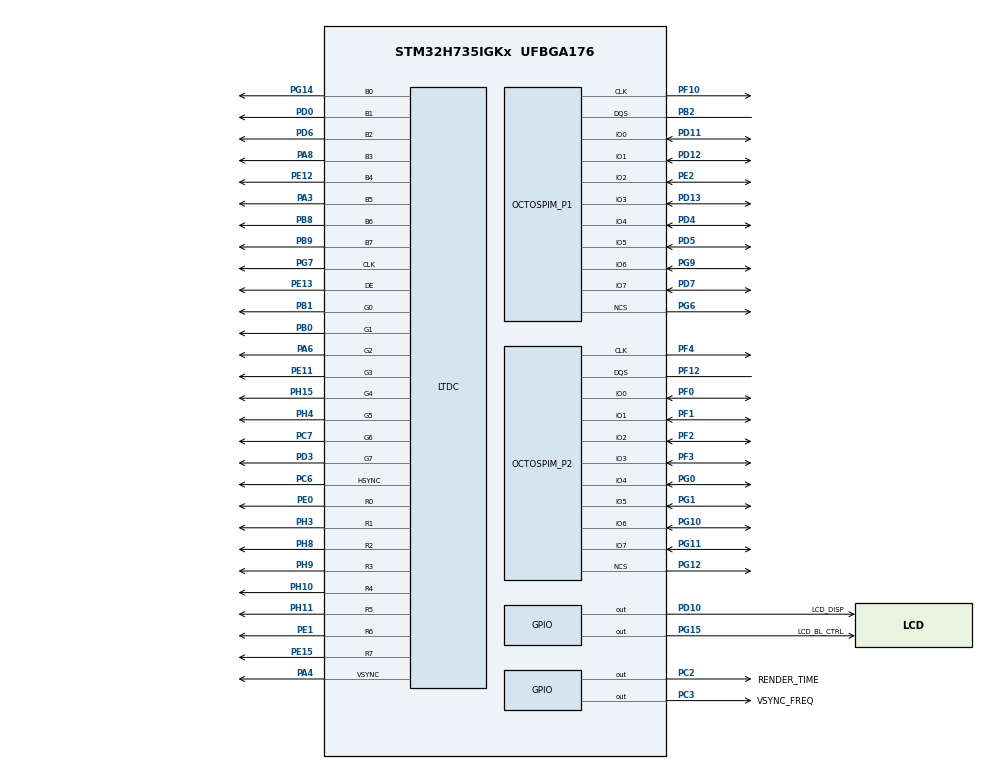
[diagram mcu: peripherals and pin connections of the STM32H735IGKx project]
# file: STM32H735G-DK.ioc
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CORTEX_M7.AccessPermission-Cortex_Memory_Protection_Unit_Region0_Settings=MPU_REGION_FULL_ACCESS
CORTEX_M7.AccessPermission-Cortex_Memory_Protection_Unit_Region2_Settings=MPU_REGION_FULL_ACCESS
CORTEX_M7.AccessPermission-Cortex_Memory_Protection_Unit_Region4_Settings=MPU_REGION_FULL_ACCESS
CORTEX_M7.BaseAddress-Cortex_Memory_Protection_Unit_Region0_Settings=0x24000000
CORTEX_M7.BaseAddress-Cortex_Memory_Protection_Unit_Region1_Settings=0x70000000
CORTEX_M7.BaseAddress-Cortex_Memory_Protection_Unit_Region2_Settings=0x70000000
CORTEX_M7.BaseAddress-Cortex_Memory_Protection_Unit_Region3_Settings=0x90000000
CORTEX_M7.BaseAddress-Cortex_Memory_Protection_Unit_Region4_Settings=0x90000000
CORTEX_M7.CPU_DCache=Enabled
CORTEX_M7.CPU_ICache=Enabled
CORTEX_M7.DisableExec-Cortex_Memory_Protection_Unit_Region0_Settings=MPU_INSTRUCTION_ACCESS_DISABLE
CORTEX_M7.DisableExec-Cortex_Memory_Protection_Unit_Region1_Settings=MPU_INSTRUCTION_ACCESS_DISABLE
CORTEX_M7.DisableExec-Cortex_Memory_Protection_Unit_Region2_Settings=MPU_INSTRUCTION_ACCESS_DISABLE
CORTEX_M7.DisableExec-Cortex_Memory_Protection_Unit_Region3_Settings=MPU_INSTRUCTION_ACCESS_DISABLE
CORTEX_M7.DisableExec-Cortex_Memory_Protection_Unit_Region4_Settings=MPU_INSTRUCTION_ACCESS_DISABLE
CORTEX_M7.Enable-Cortex_Memory_Protection_Unit_Region0_Settings=MPU_REGION_ENABLE
CORTEX_M7.Enable-Cortex_Memory_Protection_Unit_Region1_Settings=MPU_REGION_ENABLE
CORTEX_M7.Enable-Cortex_Memory_Protection_Unit_Region2_Settings=MPU_REGION_ENABLE
CORTEX_M7.Enable-Cortex_Memory_Protection_Unit_Region3_Settings=MPU_REGION_ENABLE
CORTEX_M7.Enable-Cortex_Memory_Protection_Unit_Region4_Settings=MPU_REGION_ENABLE
CORTEX_M7.IsBufferable-Cortex_Memory_Protection_Unit_Region0_Settings=MPU_ACCESS_BUFFERABLE
CORTEX_M7.IsBufferable-Cortex_Memory_Protection_Unit_Region2_Settings=MPU_ACCESS_BUFFERABLE
CORTEX_M7.IsCacheable-Cortex_Memory_Protection_Unit_Region0_Settings=MPU_ACCESS_CACHEABLE
CORTEX_M7.IsCacheable-Cortex_Memory_Protection_Unit_Region2_Settings=MPU_ACCESS_CACHEABLE
CORTEX_M7.IsCacheable-Cortex_Memory_Protection_Unit_Region4_Settings=MPU_ACCESS_CACHEABLE
CORTEX_M7.MPU_Control=MPU_PRIVILEGED_DEFAULT
CORTEX_M7.Size-Cortex_Memory_Protection_Unit_Region0_Settings=MPU_REGION_SIZE_512KB
CORTEX_M7.Size-Cortex_Memory_Protection_Unit_Region1_Settings=MPU_REGION_SIZE_512MB
CORTEX_M7.Size-Cortex_Memory_Protection_Unit_Region2_Settings=MPU_REGION_SIZE_8MB
CORTEX_M7.Size-Cortex_Memory_Protection_Unit_Region3_Settings=MPU_REGION_SIZE_512MB
CORTEX_M7.Size-Cortex_Memory_Protection_Unit_Region4_Settings=MPU_REGION_SIZE_64MB
DMA2D.ColorMode=DMA2D_OUTPUT_RGB888
DMA2D.Mode=DMA2D_R2M
FREERTOS.Tasks01=defaultTask,24,128,StartDefaultTask,Default,NULL,Dynamic,NULL,NULL;TouchGFXTask,24,1024,TouchGFX_Task,As external,NULL,Dynamic,NULL,NULL
FREERTOS.configUSE_APPLICATION_TASK_TAG=1
FREERTOS.configUSE_IDLE_HOOK=1
LTDC.ActiveH=272
LTDC.ActiveW=480
LTDC.Alpha_L0=255
LTDC.FBStartAdress_L0=0x70000000
LTDC.FBStartAdress_L1=0x70000000
LTDC.HBP=13
LTDC.HFP=32
LTDC.HSync=41
LTDC.ImageHeight_L0=272
LTDC.ImageWidth_L0=480
LTDC.Layers=0
LTDC.PixelFormat_L0=LTDC_PIXEL_FORMAT_RGB888
LTDC.VSync=10
LTDC.WindowX1_L0=480
LTDC.WindowY1_L0=272
Mcu.Family=STM32H7
Mcu.Name=STM32H735IGKx
Mcu.Package=UFBGA176
NVIC.DMA2D_IRQn=true\:5\:0\:true\:false\:true\:false\:true\:true
NVIC.LTDC_IRQn=true\:5\:0\:true\:false\:true\:false\:true\:true
NVIC.PriorityGroup=NVIC_PRIORITYGROUP_4
NVIC.TIM6_DAC_IRQn=true\:0\:0\:false\:false\:true\:false\:false\:true
NVIC.TimeBase=TIM6_DAC_IRQn
NVIC.TimeBaseIP=TIM6
OCTOSPI1.ChipSelectBoundary=0
OCTOSPI1.ChipSelectHighTime=2
OCTOSPI1.ClockPrescaler=2
OCTOSPI1.FifoThreshold=4
OCTOSPI1.MemoryType=HAL_OSPI_MEMTYPE_MACRONIX
OCTOSPI2.AccessTime=6
OCTOSPI2.ChipSelectBoundary=23
OCTOSPI2.ChipSelectHighTime=4
OCTOSPI2.ClkChipSelectHighTime=0
OCTOSPI2.ClockPrescaler=2
OCTOSPI2.DelayBlockBypass=HAL_OSPI_DELAY_BLOCK_USED
OCTOSPI2.DelayHoldQuarterCycle=HAL_OSPI_DHQC_ENABLE
OCTOSPI2.DeviceSize=24
OCTOSPI2.FifoThreshold=4
OCTOSPI2.LatencyMode=HAL_OSPI_FIXED_LATENCY
OCTOSPI2.RWRecoveryTime=3
OCTOSPI2.Refresh=400
OCTOSPI2.WriteZeroLatency=HAL_OSPI_LATENCY_ON_WRITE
PA3.GPIO_Speed=GPIO_SPEED_FREQ_VERY_HIGH
PA3.Mode=RGB888
PA3.Signal=LTDC_B5
PA4.GPIO_Speed=GPIO_SPEED_FREQ_VERY_HIGH
PA4.Mode=RGB888
PA4.Signal=LTDC_VSYNC
PA6.GPIO_Speed=GPIO_SPEED_FREQ_VERY_HIGH
PA6.Mode=RGB888
PA6.Signal=LTDC_G2
PA8.GPIO_Speed=GPIO_SPEED_FREQ_VERY_HIGH
PA8.Mode=RGB888
PA8.Signal=LTDC_B3
PB0.GPIO_Speed=GPIO_SPEED_FREQ_VERY_HIGH
PB0.Mode=RGB888
PB0.Signal=LTDC_G1
PB1.GPIO_Speed=GPIO_SPEED_FREQ_VERY_HIGH
PB1.Mode=RGB888
PB1.Signal=LTDC_G0
PB2.Mode=OCTOSPI1_Port1_DQS
PB2.Signal=OCTOSPIM_P1_DQS
PB8.GPIO_Speed=GPIO_SPEED_FREQ_VERY_HIGH
PB8.Mode=RGB888
PB8.Signal=LTDC_B6
PB9.GPIO_Speed=GPIO_SPEED_FREQ_VERY_HIGH
PB9.Mode=RGB888
PB9.Signal=LTDC_B7
PC2.GPIO_Label=RENDER_TIME
PC2.GPIO_PuPd=GPIO_PULLUP
PC2.GPIO_Speed=GPIO_SPEED_FREQ_VERY_HIGH
PC2.PinState=GPIO_PIN_SET
PC2.Signal=GPIO_Output
PC3.GPIO_Label=VSYNC_FREQ
PC3.GPIO_PuPd=GPIO_PULLUP
PC3.GPIO_Speed=GPIO_SPEED_FREQ_VERY_HIGH
PC3.PinState=GPIO_PIN_SET
PC3.Signal=GPIO_Output
PC6.GPIO_Speed=GPIO_SPEED_FREQ_VERY_HIGH
PC6.Mode=RGB888
PC6.Signal=LTDC_HSYNC
PC7.GPIO_Speed=GPIO_SPEED_FREQ_VERY_HIGH
PC7.Mode=RGB888
PC7.Signal=LTDC_G6
PD0.GPIO_Speed=GPIO_SPEED_FREQ_VERY_HIGH
PD0.Mode=RGB888
PD0.Signal=LTDC_B1
PD10.GPIO_Label=LCD_DISP
PD10.GPIO_PuPd=GPIO_NOPULL
PD10.GPIO_Speed=GPIO_SPEED_FREQ_LOW
PD10.PinState=GPIO_PIN_RESET
PD10.Signal=GPIO_Output
PD11.Mode=OCTOSPI1_IOL_Port1L
PD11.Signal=OCTOSPIM_P1_IO0
PD12.Mode=OCTOSPI1_IOL_Port1L
PD12.Signal=OCTOSPIM_P1_IO1
PD13.Mode=OCTOSPI1_IOL_Port1L
PD13.Signal=OCTOSPIM_P1_IO3
PD3.GPIO_Speed=GPIO_SPEED_FREQ_VERY_HIGH
PD3.Mode=RGB888
PD3.Signal=LTDC_G7
PD4.Mode=OCTOSPI1_IOH_Port1H
PD4.Signal=OCTOSPIM_P1_IO4
PD5.Mode=OCTOSPI1_IOH_Port1H
PD5.Signal=OCTOSPIM_P1_IO5
PD6.GPIO_Speed=GPIO_SPEED_FREQ_VERY_HIGH
PD6.Mode=RGB888
PD6.Signal=LTDC_B2
PD7.Mode=OCTOSPI1_IOH_Port1H
PD7.Signal=OCTOSPIM_P1_IO7
PE0.GPIO_Speed=GPIO_SPEED_FREQ_VERY_HIGH
PE0.Mode=RGB888
PE0.Signal=LTDC_R0
PE1.GPIO_Speed=GPIO_SPEED_FREQ_VERY_HIGH
PE1.Mode=RGB888
PE1.Signal=LTDC_R6
PE11.GPIO_Speed=GPIO_SPEED_FREQ_VERY_HIGH
PE11.Mode=RGB888
PE11.Signal=LTDC_G3
PE12.GPIO_Speed=GPIO_SPEED_FREQ_VERY_HIGH
PE12.Mode=RGB888
PE12.Signal=LTDC_B4
PE13.GPIO_Speed=GPIO_SPEED_FREQ_VERY_HIGH
PE13.Mode=RGB888
PE13.Signal=LTDC_DE
PE15.GPIO_Speed=GPIO_SPEED_FREQ_VERY_HIGH
PE15.Mode=RGB888
PE15.Signal=LTDC_R7
PE2.Mode=OCTOSPI1_IOL_Port1L
PE2.Signal=OCTOSPIM_P1_IO2
PF0.Mode=OCTOSPI2_IOL_Port2L
PF0.Signal=OCTOSPIM_P2_IO0
PF1.Mode=OCTOSPI2_IOL_Port2L
PF1.Signal=OCTOSPIM_P2_IO1
PF10.Mode=O1_P1_CLK
PF10.Signal=OCTOSPIM_P1_CLK
PF12.Mode=OCTOSPI2_Port2_DQS
PF12.Signal=OCTOSPIM_P2_DQS
PF2.Mode=OCTOSPI2_IOL_Port2L
PF2.Signal=OCTOSPIM_P2_IO2
PF3.Mode=OCTOSPI2_IOL_Port2L
PF3.Signal=OCTOSPIM_P2_IO3
PF4.Mode=O2_P2_CLK
PF4.Signal=OCTOSPIM_P2_CLK
PG0.Mode=OCTOSPI2_IOH_Port2H
PG0.Signal=OCTOSPIM_P2_IO4
PG1.Mode=OCTOSPI2_IOH_Port2H
PG1.Signal=OCTOSPIM_P2_IO5
PG10.Mode=OCTOSPI2_IOH_Port2H
PG10.Signal=OCTOSPIM_P2_IO6
PG11.Mode=OCTOSPI2_IOH_Port2H
PG11.Signal=OCTOSPIM_P2_IO7
PG12.Mode=OCTOSPI2_Port2_NCS
PG12.Signal=OCTOSPIM_P2_NCS
PG14.GPIO_Speed=GPIO_SPEED_FREQ_VERY_HIGH
PG14.Mode=RGB888
PG14.Signal=LTDC_B0
PG15.GPIO_Label=LCD_BL_CTRL
PG15.Signal=GPIO_Output
PG6.Mode=OCTOSPI1_Port1_NCS
PG6.Signal=OCTOSPIM_P1_NCS
PG7.GPIO_Speed=GPIO_SPEED_FREQ_VERY_HIGH
PG7.Mode=RGB888
PG7.Signal=LTDC_CLK
PG9.Mode=OCTOSPI1_IOH_Port1H
PG9.Signal=OCTOSPIM_P1_IO6
PH0-OSC_IN.Mode=HSE-External-Oscillator
PH0-OSC_IN.Signal=RCC_OSC_IN
PH1-OSC_OUT.Mode=HSE-External-Oscillator
PH1-OSC_OUT.Signal=RCC_OSC_OUT
PH10.GPIO_Speed=GPIO_SPEED_FREQ_VERY_HIGH
PH10.Mode=RGB888
PH10.Signal=LTDC_R4
PH11.GPIO_Speed=GPIO_SPEED_FREQ_VERY_HIGH
PH11.Mode=RGB888
PH11.Signal=LTDC_R5
PH15.GPIO_Speed=GPIO_SPEED_FREQ_VERY_HIGH
PH15.Mode=RGB888
PH15.Signal=LTDC_G4
PH3.GPIO_Speed=GPIO_SPEED_FREQ_VERY_HIGH
PH3.Mode=RGB888
PH3.Signal=LTDC_R1
PH4.GPIO_Speed=GPIO_SPEED_FREQ_VERY_HIGH
PH4.Mode=RGB888
PH4.Signal=LTDC_G5
PH8.GPIO_Speed=GPIO_SPEED_FREQ_VERY_HIGH
PH8.Mode=RGB888
PH8.Signal=LTDC_R2
PH9.GPIO_Speed=GPIO_SPEED_FREQ_VERY_HIGH
PH9.Mode=RGB888
PH9.Signal=LTDC_R3
ProjectManager.HeapSize=0x1000
ProjectManager.StackSize=0x1000
ProjectManager.TargetToolchain=STM32CubeIDE
RCC.ADCFreq_Value=200000000
RCC.APB1Freq_Value=137500000
RCC.APB2Freq_Value=137500000
RCC.APB3Freq_Value=137500000
RCC.APB4Freq_Value=137500000
RCC.CortexFreq_Value=550000000
RCC.D1PPRE=RCC_APB3_DIV2
RCC.D2PPRE1=RCC_APB1_DIV2
RCC.D2PPRE2=RCC_APB2_DIV2
RCC.D3PPRE=RCC_APB4_DIV2
RCC.DIVM1=2
RCC.DIVM2=5
RCC.DIVM3=25
RCC.DIVN1=44
RCC.DIVN2=80
RCC.DIVN3=288
RCC.DIVP1=1
RCC.DIVR3=30
RCC.HCLKFreq_Value=275000000
RCC.HPRE=RCC_HCLK_DIV2
RCC.PLL2FRACN=0
RCC.PLL3FRACN=0
RCC.PLLFRACN=0
RCC.PLLSourceVirtual=RCC_PLLSOURCE_HSE
RCC.QSPICLockSelection=RCC_OSPICLKSOURCE_PLL2
RCC.SYSCLKFreq_VALUE=550000000
RCC.SYSCLKSource=RCC_SYSCLKSOURCE_PLLCLK
RCC.SupplySource=PWR_DIRECT_SMPS_SUPPLY
RCC.USBFreq_Value=275000000
STMicroelectronics.X-CUBE-TOUCHGFX.4.18.1.ApplicationCcGraphicsJjApplication=TouchGFXOoGenerator
STMicroelectronics.X-CUBE-TOUCHGFX.4.18.1.tgfx_address1=0x70000000
STMicroelectronics.X-CUBE-TOUCHGFX.4.18.1.tgfx_address2=0x70060000
STMicroelectronics.X-CUBE-TOUCHGFX.4.18.1.tgfx_buffering_strategy=Double
STMicroelectronics.X-CUBE-TOUCHGFX.4.18.1.tgfx_display_interface=disp_ltdc
STMicroelectronics.X-CUBE-TOUCHGFX.4.18.1.tgfx_hardware_accelerator=dma_2d
STMicroelectronics.X-CUBE-TOUCHGFX.4.18.1.tgfx_location=By Address
STMicroelectronics.X-CUBE-TOUCHGFX.4.18.1.tgfx_vsync=vsync_ltdc
VP_CRC_VS_CRC.Mode=CRC_Activate
VP_DMA2D_VS_DMA2D.Mode=DMA2D_Activate
VP_FREERTOS_VS_CMSIS_V2.Mode=CMSIS_V2
VP_OCTOSPI1_VS_octo.Mode=octo_mode
VP_OCTOSPI2_VS_octo.Mode=hyperbus_mode
VP_STMicroelectronics.X-CUBE-TOUCHGFX_VS_GraphicsJjApplication_4.18.1.Mode=GraphicsJjApplication
VP_SYS_VS_tim6.Mode=TIM6
board=custom

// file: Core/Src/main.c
/* USER CODE BEGIN Header */
/**
  ******************************************************************************
  * @file           : main.c
  * @brief          : Main program body
  ******************************************************************************
  * @attention
  *
  * <h2><center>&copy; Copyright (c) 2020 STMicroelectronics.
  * All rights reserved.</center></h2>
  *
  * This software component is licensed by ST under Ultimate Liberty license
  * SLA0044, the "License"; You may not use this file except in compliance with
  * the License. You may obtain a copy of the License at:
  *                             www.st.com/SLA0044
  *
  ******************************************************************************
  */
/* USER CODE END Header */
#include "main.h"
#include "cmsis_os.h"
#include "app_touchgfx.h"

/* USER CODE BEGIN Includes */
#include "stm32h735g_discovery_ospi.h"
#include "stm32h7xx_hal_ospi.h"
/* USER CODE END Includes */

CRC_HandleTypeDef hcrc;

DMA2D_HandleTypeDef hdma2d;

LTDC_HandleTypeDef hltdc;

OSPI_HandleTypeDef hospi1;
OSPI_HandleTypeDef hospi2;

/* Definitions for defaultTask */
osThreadId_t defaultTaskHandle;
const osThreadAttr_t defaultTask_attributes = {
    .name = "defaultTask",
    .stack_size = 128 * 4,
    .priority = (osPriority_t) osPriorityNormal,
};
/* Definitions for TouchGFXTask */
osThreadId_t TouchGFXTaskHandle;
const osThreadAttr_t TouchGFXTask_attributes = {
    .name = "TouchGFXTask",
    .stack_size = 1024 * 4,
    .priority = (osPriority_t) osPriorityNormal,
};

void SystemClock_Config(void);
void PeriphCommonClock_Config(void);
static void MPU_Config(void);
static void MX_GPIO_Init(void);
static void MX_CRC_Init(void);
static void MX_DMA2D_Init(void);
static void MX_LTDC_Init(void);
static void MX_OCTOSPI1_Init(void);
static void MX_OCTOSPI2_Init(void);
void StartDefaultTask(void* argument);
extern void TouchGFX_Task(void* argument);

int
main(void) {

    /* MPU Configuration--------------------------------------------------------*/
    MPU_Config();

    /* Enable I-Cache---------------------------------------------------------*/
    SCB_EnableICache();

    /* Enable D-Cache---------------------------------------------------------*/
    SCB_EnableDCache();

    /* MCU Configuration--------------------------------------------------------*/

    /* Reset of all peripherals, Initializes the Flash interface and the Systick. */
    HAL_Init();

    /* Configure the system clock */
    SystemClock_Config();

    /* Configure the peripherals common clocks */
    PeriphCommonClock_Config();

    /* Initialize all configured peripherals */
    MX_GPIO_Init();
    MX_CRC_Init();
    MX_DMA2D_Init();
    MX_LTDC_Init();
    MX_OCTOSPI1_Init();
    MX_OCTOSPI2_Init();
    MX_TouchGFX_Init();

    /* Init scheduler */
    osKernelInitialize();

    /* Create the thread(s) */
    /* creation of defaultTask */
    defaultTaskHandle = osThreadNew(StartDefaultTask, NULL, &defaultTask_attributes);

    /* creation of TouchGFXTask */
    TouchGFXTaskHandle = osThreadNew(TouchGFX_Task, NULL, &TouchGFXTask_attributes);

    /* Start scheduler */
    osKernelStart();

    /* We should never get here as control is now taken by the scheduler */
    /* Infinite loop */
    while (1) {

    }
}

void
SystemClock_Config(void) {
    RCC_OscInitTypeDef RCC_OscInitStruct = {0};
    RCC_ClkInitTypeDef RCC_ClkInitStruct = {0};

    /** Supply configuration update enable
    */
    HAL_PWREx_ConfigSupply(PWR_DIRECT_SMPS_SUPPLY);
    /** Configure the main internal regulator output voltage
    */
    __HAL_PWR_VOLTAGESCALING_CONFIG(PWR_REGULATOR_VOLTAGE_SCALE0);

    while (!__HAL_PWR_GET_FLAG(PWR_FLAG_VOSRDY)) {}
    /** Macro to configure the PLL clock source
    */
    __HAL_RCC_PLL_PLLSOURCE_CONFIG(RCC_PLLSOURCE_HSE);
    /** Initializes the RCC Oscillators according to the specified parameters
    * in the RCC_OscInitTypeDef structure.
    */
    RCC_OscInitStruct.OscillatorType = RCC_OSCILLATORTYPE_HSE;
    RCC_OscInitStruct.HSEState = RCC_HSE_ON;
    RCC_OscInitStruct.PLL.PLLState = RCC_PLL_ON;
    RCC_OscInitStruct.PLL.PLLSource = RCC_PLLSOURCE_HSE;
    RCC_OscInitStruct.PLL.PLLM = 2;
    RCC_OscInitStruct.PLL.PLLN = 44;
    RCC_OscInitStruct.PLL.PLLP = 1;
    RCC_OscInitStruct.PLL.PLLQ = 2;
    RCC_OscInitStruct.PLL.PLLR = 2;
    RCC_OscInitStruct.PLL.PLLRGE = RCC_PLL1VCIRANGE_3;
    RCC_OscInitStruct.PLL.PLLVCOSEL = RCC_PLL1VCOWIDE;
    RCC_OscInitStruct.PLL.PLLFRACN = 0;
    if (HAL_RCC_OscConfig(&RCC_OscInitStruct) != HAL_OK) {
        Error_Handler();
    }
    /** Initializes the CPU, AHB and APB buses clocks
    */
    RCC_ClkInitStruct.ClockType = RCC_CLOCKTYPE_HCLK | RCC_CLOCKTYPE_SYSCLK
                                  | RCC_CLOCKTYPE_PCLK1 | RCC_CLOCKTYPE_PCLK2
                                  | RCC_CLOCKTYPE_D3PCLK1 | RCC_CLOCKTYPE_D1PCLK1;
    RCC_ClkInitStruct.SYSCLKSource = RCC_SYSCLKSOURCE_PLLCLK;
    RCC_ClkInitStruct.SYSCLKDivider = RCC_SYSCLK_DIV1;
    RCC_ClkInitStruct.AHBCLKDivider = RCC_HCLK_DIV2;
    RCC_ClkInitStruct.APB3CLKDivider = RCC_APB3_DIV2;
    RCC_ClkInitStruct.APB1CLKDivider = RCC_APB1_DIV2;
    RCC_ClkInitStruct.APB2CLKDivider = RCC_APB2_DIV2;
    RCC_ClkInitStruct.APB4CLKDivider = RCC_APB4_DIV2;

    if (HAL_RCC_ClockConfig(&RCC_ClkInitStruct, FLASH_LATENCY_3) != HAL_OK) {
        Error_Handler();
    }
}

void
PeriphCommonClock_Config(void) {
    RCC_PeriphCLKInitTypeDef PeriphClkInitStruct = {0};

    /** Initializes the peripherals clock
    */
    PeriphClkInitStruct.PeriphClockSelection = RCC_PERIPHCLK_OSPI;
    PeriphClkInitStruct.PLL2.PLL2M = 5;
    PeriphClkInitStruct.PLL2.PLL2N = 80;
    PeriphClkInitStruct.PLL2.PLL2P = 2;
    PeriphClkInitStruct.PLL2.PLL2Q = 2;
    PeriphClkInitStruct.PLL2.PLL2R = 2;
    PeriphClkInitStruct.PLL2.PLL2RGE = RCC_PLL2VCIRANGE_2;
    PeriphClkInitStruct.PLL2.PLL2VCOSEL = RCC_PLL2VCOWIDE;
    PeriphClkInitStruct.PLL2.PLL2FRACN = 0;
    PeriphClkInitStruct.OspiClockSelection = RCC_OSPICLKSOURCE_PLL2;
    if (HAL_RCCEx_PeriphCLKConfig(&PeriphClkInitStruct) != HAL_OK) {
        Error_Handler();
    }
}

static void
MX_CRC_Init(void) {

    hcrc.Instance = CRC;
    hcrc.Init.DefaultPolynomialUse = DEFAULT_POLYNOMIAL_ENABLE;
    hcrc.Init.DefaultInitValueUse = DEFAULT_INIT_VALUE_ENABLE;
    hcrc.Init.InputDataInversionMode = CRC_INPUTDATA_INVERSION_NONE;
    hcrc.Init.OutputDataInversionMode = CRC_OUTPUTDATA_INVERSION_DISABLE;
    hcrc.InputDataFormat = CRC_INPUTDATA_FORMAT_BYTES;
    if (HAL_CRC_Init(&hcrc) != HAL_OK) {
        Error_Handler();
    }

}

static void
MX_DMA2D_Init(void) {

    hdma2d.Instance = DMA2D;
    hdma2d.Init.Mode = DMA2D_R2M;
    hdma2d.Init.ColorMode = DMA2D_OUTPUT_RGB888;
    hdma2d.Init.OutputOffset = 0;
    if (HAL_DMA2D_Init(&hdma2d) != HAL_OK) {
        Error_Handler();
    }

}

static void
MX_LTDC_Init(void) {

    LTDC_LayerCfgTypeDef pLayerCfg = {0};

    hltdc.Instance = LTDC;
    hltdc.Init.HSPolarity = LTDC_HSPOLARITY_AL;
    hltdc.Init.VSPolarity = LTDC_VSPOLARITY_AL;
    hltdc.Init.DEPolarity = LTDC_DEPOLARITY_AL;
    hltdc.Init.PCPolarity = LTDC_PCPOLARITY_IPC;
    hltdc.Init.HorizontalSync = 40;
    hltdc.Init.VerticalSync = 9;
    hltdc.Init.AccumulatedHBP = 53;
    hltdc.Init.AccumulatedVBP = 11;
    hltdc.Init.AccumulatedActiveW = 533;
    hltdc.Init.AccumulatedActiveH = 283;
    hltdc.Init.TotalWidth = 565;
    hltdc.Init.TotalHeigh = 285;
    hltdc.Init.Backcolor.Blue = 0;
    hltdc.Init.Backcolor.Green = 0;
    hltdc.Init.Backcolor.Red = 0;
    if (HAL_LTDC_Init(&hltdc) != HAL_OK) {
        Error_Handler();
    }
    pLayerCfg.WindowX0 = 0;
    pLayerCfg.WindowX1 = 480;
    pLayerCfg.WindowY0 = 0;
    pLayerCfg.WindowY1 = 272;
    pLayerCfg.PixelFormat = LTDC_PIXEL_FORMAT_RGB888;
    pLayerCfg.Alpha = 255;
    pLayerCfg.Alpha0 = 0;
    pLayerCfg.BlendingFactor1 = LTDC_BLENDING_FACTOR1_CA;
    pLayerCfg.BlendingFactor2 = LTDC_BLENDING_FACTOR2_CA;
    pLayerCfg.FBStartAdress = 0x70000000;
    pLayerCfg.ImageWidth = 480;
    pLayerCfg.ImageHeight = 272;
    pLayerCfg.Backcolor.Blue = 0;
    pLayerCfg.Backcolor.Green = 0;
    pLayerCfg.Backcolor.Red = 0;
    if (HAL_LTDC_ConfigLayer(&hltdc, &pLayerCfg, 0) != HAL_OK) {
        Error_Handler();
    }

}

static void
MX_OCTOSPI1_Init(void) {

    /* USER CODE BEGIN OCTOSPI1_Init 0 */
    BSP_OSPI_NOR_Init_t ospi_nor_int;
    /* USER CODE END OCTOSPI1_Init 0 */

    OSPIM_CfgTypeDef sOspiManagerCfg = {0};

    /* OCTOSPI1 parameter configuration*/
    hospi1.Instance = OCTOSPI1;
    hospi1.Init.FifoThreshold = 4;
    hospi1.Init.DualQuad = HAL_OSPI_DUALQUAD_DISABLE;
    hospi1.Init.MemoryType = HAL_OSPI_MEMTYPE_MACRONIX;
    hospi1.Init.DeviceSize = 32;
    hospi1.Init.ChipSelectHighTime = 2;
    hospi1.Init.FreeRunningClock = HAL_OSPI_FREERUNCLK_DISABLE;
    hospi1.Init.ClockMode = HAL_OSPI_CLOCK_MODE_0;
    hospi1.Init.WrapSize = HAL_OSPI_WRAP_NOT_SUPPORTED;
    hospi1.Init.ClockPrescaler = 2;
    hospi1.Init.SampleShifting = HAL_OSPI_SAMPLE_SHIFTING_NONE;
    hospi1.Init.DelayHoldQuarterCycle = HAL_OSPI_DHQC_DISABLE;
    hospi1.Init.ChipSelectBoundary = 0;
    hospi1.Init.ClkChipSelectHighTime = 0;
    hospi1.Init.DelayBlockBypass = HAL_OSPI_DELAY_BLOCK_BYPASSED;
    hospi1.Init.MaxTran = 0;
    hospi1.Init.Refresh = 0;
    if (HAL_OSPI_Init(&hospi1) != HAL_OK) {
        Error_Handler();
    }
    sOspiManagerCfg.ClkPort = 1;
    sOspiManagerCfg.DQSPort = 1;
    sOspiManagerCfg.NCSPort = 1;
    sOspiManagerCfg.IOLowPort = HAL_OSPIM_IOPORT_1_LOW;
    sOspiManagerCfg.IOHighPort = HAL_OSPIM_IOPORT_1_HIGH;
    if (HAL_OSPIM_Config(&hospi1, &sOspiManagerCfg, HAL_OSPI_TIMEOUT_DEFAULT_VALUE) != HAL_OK) {
        Error_Handler();
    }
    /* USER CODE BEGIN OCTOSPI1_Init 2 */
    HAL_OSPI_DeInit(&hospi1);
    ospi_nor_int.InterfaceMode = BSP_OSPI_NOR_OPI_MODE;
    ospi_nor_int.TransferRate  = BSP_OSPI_NOR_DTR_TRANSFER;
    BSP_OSPI_NOR_DeInit(0);
    if (BSP_OSPI_NOR_Init(0, &ospi_nor_int) != BSP_ERROR_NONE) {
        Error_Handler();
    }
    if (BSP_OSPI_NOR_EnableMemoryMappedMode(0) != BSP_ERROR_NONE) {
        Error_Handler();
    }
    /* USER CODE END OCTOSPI1_Init 2 */

}

static void
MX_OCTOSPI2_Init(void) {

    /* USER CODE BEGIN OCTOSPI2_Init 0 */
    BSP_OSPI_RAM_Init_t ospi_ram_init;
    /* USER CODE END OCTOSPI2_Init 0 */

    OSPIM_CfgTypeDef sOspiManagerCfg = {0};
    OSPI_HyperbusCfgTypeDef sHyperBusCfg = {0};

    /* USER CODE BEGIN OCTOSPI2_Init 1 */
    OSPI_HyperbusCmdTypeDef sCommand = {0};
    OSPI_MemoryMappedTypeDef sMemMappedCfg = {0};
    /* USER CODE END OCTOSPI2_Init 1 */
    /* OCTOSPI2 parameter configuration*/
    hospi2.Instance = OCTOSPI2;
    hospi2.Init.FifoThreshold = 4;
    hospi2.Init.DualQuad = HAL_OSPI_DUALQUAD_DISABLE;
    hospi2.Init.MemoryType = HAL_OSPI_MEMTYPE_HYPERBUS;
    hospi2.Init.DeviceSize = 24;
    hospi2.Init.ChipSelectHighTime = 4;
    hospi2.Init.FreeRunningClock = HAL_OSPI_FREERUNCLK_DISABLE;
    hospi2.Init.ClockMode = HAL_OSPI_CLOCK_MODE_0;
    hospi2.Init.WrapSize = HAL_OSPI_WRAP_NOT_SUPPORTED;
    hospi2.Init.ClockPrescaler = 2;
    hospi2.Init.SampleShifting = HAL_OSPI_SAMPLE_SHIFTING_NONE;
    hospi2.Init.DelayHoldQuarterCycle = HAL_OSPI_DHQC_ENABLE;
    hospi2.Init.ChipSelectBoundary = 23;
    hospi2.Init.ClkChipSelectHighTime = 0;
    hospi2.Init.DelayBlockBypass = HAL_OSPI_DELAY_BLOCK_USED;
    hospi2.Init.MaxTran = 0;
    hospi2.Init.Refresh = 400;
    if (HAL_OSPI_Init(&hospi2) != HAL_OK) {
        Error_Handler();
    }
    sOspiManagerCfg.ClkPort = 2;
    sOspiManagerCfg.DQSPort = 2;
    sOspiManagerCfg.NCSPort = 2;
    sOspiManagerCfg.IOLowPort = HAL_OSPIM_IOPORT_2_LOW;
    sOspiManagerCfg.IOHighPort = HAL_OSPIM_IOPORT_2_HIGH;
    if (HAL_OSPIM_Config(&hospi2, &sOspiManagerCfg, HAL_OSPI_TIMEOUT_DEFAULT_VALUE) != HAL_OK) {
        Error_Handler();
    }
    sHyperBusCfg.RWRecoveryTime = 3;
    sHyperBusCfg.AccessTime = 6;
    sHyperBusCfg.WriteZeroLatency = HAL_OSPI_LATENCY_ON_WRITE;
    sHyperBusCfg.LatencyMode = HAL_OSPI_FIXED_LATENCY;
    if (HAL_OSPI_HyperbusCfg(&hospi2, &sHyperBusCfg, HAL_OSPI_TIMEOUT_DEFAULT_VALUE) != HAL_OK) {
        Error_Handler();
    }
    /* USER CODE BEGIN OCTOSPI2_Init 2 */
    sCommand.AddressSpace = HAL_OSPI_MEMORY_ADDRESS_SPACE;
    sCommand.AddressSize  = HAL_OSPI_ADDRESS_32_BITS;
    sCommand.DQSMode      = HAL_OSPI_DQS_ENABLE;
    sCommand.Address      = 0;
    sCommand.NbData       = 1;

    if (HAL_OSPI_HyperbusCmd(&hospi2, &sCommand, HAL_OSPI_TIMEOUT_DEFAULT_VALUE) != HAL_OK) {
        Error_Handler();
    }

    sMemMappedCfg.TimeOutActivation = HAL_OSPI_TIMEOUT_COUNTER_DISABLE;

    if (HAL_OSPI_MemoryMapped(&hospi2, &sMemMappedCfg) != HAL_OK) {
        Error_Handler();
    }

    /* USER CODE END OCTOSPI2_Init 2 */

}

static void
MX_GPIO_Init(void) {
    GPIO_InitTypeDef GPIO_InitStruct = {0};

    /* GPIO Ports Clock Enable */
    __HAL_RCC_GPIOB_CLK_ENABLE();
    __HAL_RCC_GPIOG_CLK_ENABLE();
    __HAL_RCC_GPIOD_CLK_ENABLE();
    __HAL_RCC_GPIOE_CLK_ENABLE();
    __HAL_RCC_GPIOA_CLK_ENABLE();
    __HAL_RCC_GPIOH_CLK_ENABLE();
    __HAL_RCC_GPIOC_CLK_ENABLE();
    __HAL_RCC_GPIOF_CLK_ENABLE();

    /*Configure GPIO pin Output Level */
    HAL_GPIO_WritePin(LCD_BL_CTRL_GPIO_Port, LCD_BL_CTRL_Pin, GPIO_PIN_RESET);

    /*Configure GPIO pin Output Level */
    HAL_GPIO_WritePin(LCD_DISP_GPIO_Port, LCD_DISP_Pin, GPIO_PIN_RESET);

    /*Configure GPIO pin Output Level */
    HAL_GPIO_WritePin(GPIOC, RENDER_TIME_Pin | VSYNC_FREQ_Pin, GPIO_PIN_SET);

    /*Configure GPIO pin : LCD_BL_CTRL_Pin */
    GPIO_InitStruct.Pin = LCD_BL_CTRL_Pin;
    GPIO_InitStruct.Mode = GPIO_MODE_OUTPUT_PP;
    GPIO_InitStruct.Pull = GPIO_NOPULL;
    GPIO_InitStruct.Speed = GPIO_SPEED_FREQ_LOW;
    HAL_GPIO_Init(LCD_BL_CTRL_GPIO_Port, &GPIO_InitStruct);

    /*Configure GPIO pin : LCD_DISP_Pin */
    GPIO_InitStruct.Pin = LCD_DISP_Pin;
    GPIO_InitStruct.Mode = GPIO_MODE_OUTPUT_PP;
    GPIO_InitStruct.Pull = GPIO_NOPULL;
    GPIO_InitStruct.Speed = GPIO_SPEED_FREQ_LOW;
    HAL_GPIO_Init(LCD_DISP_GPIO_Port, &GPIO_InitStruct);

    /*Configure GPIO pins : RENDER_TIME_Pin VSYNC_FREQ_Pin */
    GPIO_InitStruct.Pin = RENDER_TIME_Pin | VSYNC_FREQ_Pin;
    GPIO_InitStruct.Mode = GPIO_MODE_OUTPUT_PP;
    GPIO_InitStruct.Pull = GPIO_PULLUP;
    GPIO_InitStruct.Speed = GPIO_SPEED_FREQ_VERY_HIGH;
    HAL_GPIO_Init(GPIOC, &GPIO_InitStruct);

}

void
StartDefaultTask(void* argument) {
    /* USER CODE BEGIN 5 */
    /* Infinite loop */
    for (;;) {
        osDelay(100);
    }
    /* USER CODE END 5 */
}

/* MPU Configuration */

void
MPU_Config(void) {
    MPU_Region_InitTypeDef MPU_InitStruct = {0};

    /* Disables the MPU */
    HAL_MPU_Disable();
    /** Initializes and configures the Region and the memory to be protected
    */
    MPU_InitStruct.Enable = MPU_REGION_ENABLE;
    MPU_InitStruct.Number = MPU_REGION_NUMBER0;
    MPU_InitStruct.BaseAddress = 0x24000000;
    MPU_InitStruct.Size = MPU_REGION_SIZE_512KB;
    MPU_InitStruct.SubRegionDisable = 0x0;
    MPU_InitStruct.TypeExtField = MPU_TEX_LEVEL0;
    MPU_InitStruct.AccessPermission = MPU_REGION_FULL_ACCESS;
    MPU_InitStruct.DisableExec = MPU_INSTRUCTION_ACCESS_DISABLE;
    MPU_InitStruct.IsShareable = MPU_ACCESS_NOT_SHAREABLE;
    MPU_InitStruct.IsCacheable = MPU_ACCESS_CACHEABLE;
    MPU_InitStruct.IsBufferable = MPU_ACCESS_BUFFERABLE;

    HAL_MPU_ConfigRegion(&MPU_InitStruct);
    /** Initializes and configures the Region and the memory to be protected
    */
    MPU_InitStruct.Number = MPU_REGION_NUMBER1;
    MPU_InitStruct.BaseAddress = 0x70000000;
    MPU_InitStruct.Size = MPU_REGION_SIZE_512MB;
    MPU_InitStruct.AccessPermission = MPU_REGION_NO_ACCESS;
    MPU_InitStruct.IsCacheable = MPU_ACCESS_NOT_CACHEABLE;
    MPU_InitStruct.IsBufferable = MPU_ACCESS_NOT_BUFFERABLE;

    HAL_MPU_ConfigRegion(&MPU_InitStruct);
    /** Initializes and configures the Region and the memory to be protected
    */
    MPU_InitStruct.Number = MPU_REGION_NUMBER2;
    MPU_InitStruct.Size = MPU_REGION_SIZE_8MB;
    MPU_InitStruct.AccessPermission = MPU_REGION_FULL_ACCESS;
    MPU_InitStruct.IsCacheable = MPU_ACCESS_CACHEABLE;
    MPU_InitStruct.IsBufferable = MPU_ACCESS_BUFFERABLE;

    HAL_MPU_ConfigRegion(&MPU_InitStruct);
    /** Initializes and configures the Region and the memory to be protected
    */
    MPU_InitStruct.Number = MPU_REGION_NUMBER3;
    MPU_InitStruct.BaseAddress = 0x90000000;
    MPU_InitStruct.Size = MPU_REGION_SIZE_512MB;
    MPU_InitStruct.AccessPermission = MPU_REGION_NO_ACCESS;
    MPU_InitStruct.IsCacheable = MPU_ACCESS_NOT_CACHEABLE;
    MPU_InitStruct.IsBufferable = MPU_ACCESS_NOT_BUFFERABLE;

    HAL_MPU_ConfigRegion(&MPU_InitStruct);
    /** Initializes and configures the Region and the memory to be protected
    */
    MPU_InitStruct.Number = MPU_REGION_NUMBER4;
    MPU_InitStruct.Size = MPU_REGION_SIZE_64MB;
    MPU_InitStruct.AccessPermission = MPU_REGION_FULL_ACCESS;
    MPU_InitStruct.IsCacheable = MPU_ACCESS_CACHEABLE;

    HAL_MPU_ConfigRegion(&MPU_InitStruct);
    /* Enables the MPU */
    HAL_MPU_Enable(MPU_PRIVILEGED_DEFAULT);

}

void
HAL_TIM_PeriodElapsedCallback(TIM_HandleTypeDef* htim) {
    if (htim->Instance == TIM6) {
        HAL_IncTick();
    }
}

void
Error_Handler(void) {
}

/************************ (C) COPYRIGHT STMicroelectronics *****END OF FILE****/

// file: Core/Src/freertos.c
/* USER CODE BEGIN Header */
/**
  ******************************************************************************
  * File Name          : freertos.c
  * Description        : Code for freertos applications
  ******************************************************************************
  * @attention
  *
  * <h2><center>&copy; Copyright (c) 2020 STMicroelectronics.
  * All rights reserved.</center></h2>
  *
  * This software component is licensed by ST under Ultimate Liberty license
  * SLA0044, the "License"; You may not use this file except in compliance with
  * the License. You may obtain a copy of the License at:
  *                             www.st.com/SLA0044
  *
  ******************************************************************************
  */
/* USER CODE END Header */

#include "FreeRTOS.h"
#include "task.h"
#include "main.h"

/* USER CODE BEGIN FunctionPrototypes */
extern portBASE_TYPE IdleTaskHook(void* p);
/* USER CODE END FunctionPrototypes */

/* Hook prototypes */
void vApplicationIdleHook(void);

/* USER CODE BEGIN 2 */
void
vApplicationIdleHook( void ) {
    /* vApplicationIdleHook() will only be called if configUSE_IDLE_HOOK is set
    to 1 in FreeRTOSConfig.h. It will be called on each iteration of the idle
    task. It is essential that code added to this hook function never attempts
    to block in any way (for example, call xQueueReceive() with a block time
    specified, or call vTaskDelay()). If the application makes use of the
    vTaskDelete() API function (as this demo application does) then it is also
    important that vApplicationIdleHook() is permitted to return to its calling
    function, because it is the responsibility of the idle task to clean up
    memory allocated by the kernel to any task that has since been deleted. */

    vTaskSetApplicationTaskTag(NULL, IdleTaskHook);
}
/* USER CODE END 2 */

/************************ (C) COPYRIGHT STMicroelectronics *****END OF FILE****/
